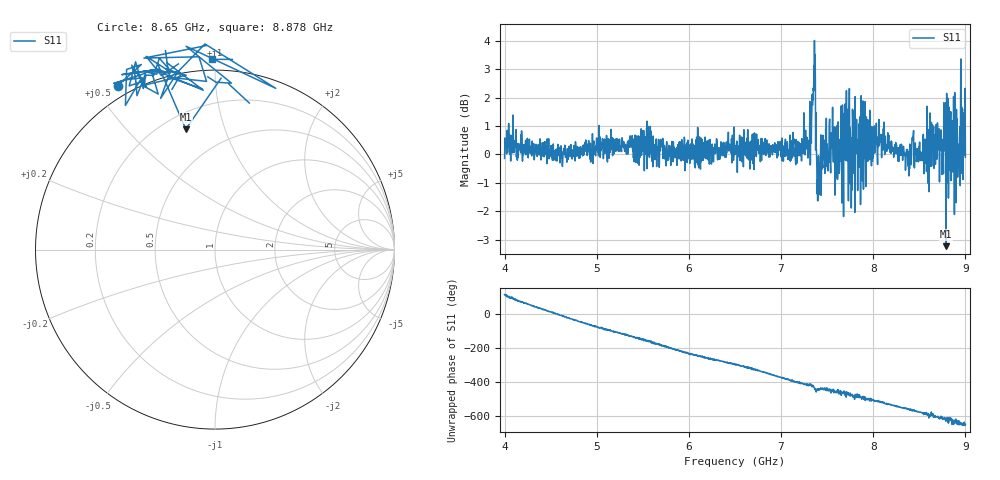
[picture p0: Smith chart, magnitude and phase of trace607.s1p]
! Created with skrf 1.8.0 (http://scikit-rf.org).
# Hz S RI R 50.0
!freq ReS11 ImS11
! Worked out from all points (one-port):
!   1601 points, 4 GHz to 9 GHz, reference 50 ohm
!   lowest |S11| = -3.2 dB at 8.791 GHz (marker M1), VSWR 5.46, Z = 14.5 + j37.2 ohm
!   |S11| at or under -10 dB: nowhere
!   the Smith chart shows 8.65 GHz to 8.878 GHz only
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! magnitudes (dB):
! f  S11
! 4 GHz  -0.1
! 4.1 GHz  0.4
! 4.625 GHz  -0.4
! 5.25 GHz  0.3
! 5.572 GHz  -0.1
! 5.625 GHz  0.1
! 5.875 GHz  0.1
! 6.5 GHz  0.0
! 7.125 GHz  0.4
! 7.294 GHz  0.0
! 7.316 GHz  -0.4
! 7.347 GHz  1.9
! 7.362 GHz  4.0
! 7.4 GHz  -0.6
! 7.412 GHz  -0.3
! 7.503 GHz  0.1
! 7.622 GHz  0.1
! 7.716 GHz  0.0
! 7.75 GHz  0.9
! 7.769 GHz  -0.7
! 7.891 GHz  -0.1
! 7.909 GHz  1.3
! 8.088 GHz  0.4
! 8.375 GHz  0.0
! 8.791 GHz  -3.2
! 8.919 GHz  -0.3
! 8.972 GHz  0.4
! 9 GHz  -0.1
